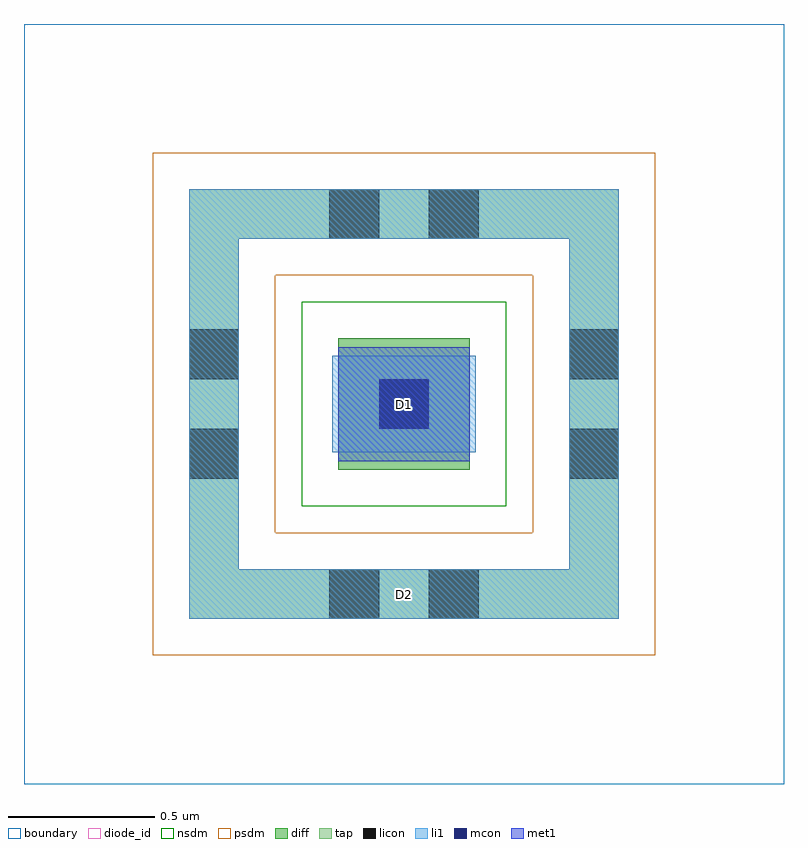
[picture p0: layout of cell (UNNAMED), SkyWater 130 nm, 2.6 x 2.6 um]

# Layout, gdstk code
import gdstk
lib = gdstk.Library(unit=1e-6, precision=1e-09)
def R(c, l, rs):  # rectangles x0, y0, x1, y1
    for r in rs: c.add(gdstk.rectangle(r[:2], r[2:], *l))
diff = (65, 20)
tap = (65, 44)
licon = (66, 44)
li1 = (67, 20)
mcon = (67, 44)
met1 = (68, 20)
diode_id = (81, 23)
nsdm = (93, 44)
psdm = (94, 20)
boundary = (235, 4)

c__unnamed_ = lib.new_cell('(UNNAMED)')
R(c__unnamed_, diff, [(-0.225,-0.225,0.225,0.225)])
R(c__unnamed_, tap, [(-0.735,-0.735,0.735,-0.565), (-0.735,-0.565,-0.565,0.565), (0.565,-0.565,0.735,0.565), (-0.735,0.565,0.735,0.735)])
R(c__unnamed_, licon, [(-0.255,-0.735,-0.085,-0.565), (0.085,-0.735,0.255,-0.565), (-0.735,-0.255,-0.565,-0.085), (0.565,-0.255,0.735,-0.085), (-0.085,-0.085,0.085,0.085), (-0.735,0.085,-0.565,0.255), (0.565,0.085,0.735,0.255), (-0.255,0.565,-0.085,0.735), (0.085,0.565,0.255,0.735)])
R(c__unnamed_, li1, [(-0.735,-0.735,0.735,-0.565), (-0.735,-0.565,-0.565,0.565), (0.565,-0.565,0.735,0.565), (-0.245,-0.165,0.245,0.165), (-0.735,0.565,0.735,0.735)])
R(c__unnamed_, mcon, [(-0.085,-0.085,0.085,0.085)])
R(c__unnamed_, met1, [(-0.225,-0.195,0.225,0.195)])
R(c__unnamed_, diode_id, [(-0.225,-0.225,0.225,0.225)])
R(c__unnamed_, nsdm, [(-0.35,-0.35,0.35,0.35)])
R(c__unnamed_, psdm, [(-0.86,-0.86,0.86,-0.44), (-0.86,-0.44,-0.44,0.44), (0.44,-0.44,0.86,0.44), (-0.86,0.44,0.86,0.86)])
R(c__unnamed_, boundary, [(-1.3,-1.3,1.3,1.3)])
c__unnamed_.add(gdstk.Label('D2', (0,-0.65), layer=67, texttype=5))
c__unnamed_.add(gdstk.Label('D1', (0,0), layer=67, texttype=5))

lib.write_gds('_UNNAMED_.gds')
